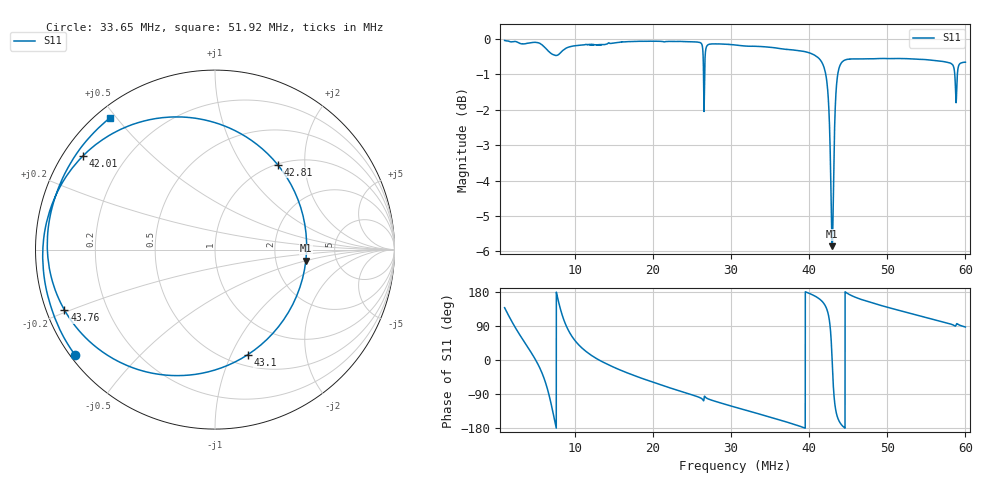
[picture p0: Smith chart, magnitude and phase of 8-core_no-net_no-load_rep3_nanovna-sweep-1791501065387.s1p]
! NanoVNA Web complex sweep
! Processing: unaveraged complex samples; linear segment spacing; no smoothing
# Hz S RI R 50
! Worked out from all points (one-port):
!   5050 points, 1 MHz to 60 MHz, reference 50 ohm
!   lowest |S11| = -5.9 dB at 42.95 MHz (marker M1), VSWR 3.08, Z = 149 - j24.9 ohm
!   |S11| at or under -10 dB: nowhere
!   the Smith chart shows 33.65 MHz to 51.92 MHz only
!   S11 on the Smith chart (normalised r, x): 33.65 MHz: 0.01, -0.34; 42.01 MHz: 0.06, +0.32; 42.81 MHz: 1.01, +1.46; 43.1 MHz: 0.62, -1.16; 43.76 MHz: 0.05, -0.19; 51.92 MHz: 0.04, +0.48
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1000000  -0.7396 0.6659
2612530  0.2188 0.9656
4610665  0.9643 0.2188
5732425  0.8372 -0.5138
6632170  0.0357 -0.9601
7052830  -0.5446 -0.7816
7520230  -0.9353 -0.1537
7882465  -0.8663 0.3907
8384920  -0.449 0.8506
9506680  0.3963 0.8919
1.083877e7  0.8235 0.5322
1.575816e7  0.889 -0.4345
2.313139e7  0.1742 -0.9765
3.050462e7  -0.5551 -0.8085
3.364789e7  -0.7774 -0.59
3.787786e7  -0.9459 -0.1916
4.076406e7  -0.9282 0.1914
4.201435e7  -0.7372 0.5204
4.25168e7  -0.3114 0.7328
4.280893e7  0.3485 0.4739
4.294915e7  0.5061 -0.0617
4.310106e7  0.1835 -0.5849
4.334644e7  -0.4728 -0.6527
4.375542e7  -0.8387 -0.3366
4.52511e7  -0.927 0.1364
5.192323e7  -0.5854 0.7333
5.262433e7  -0.5349 0.7705
5.999756e7  0.0476 0.926
